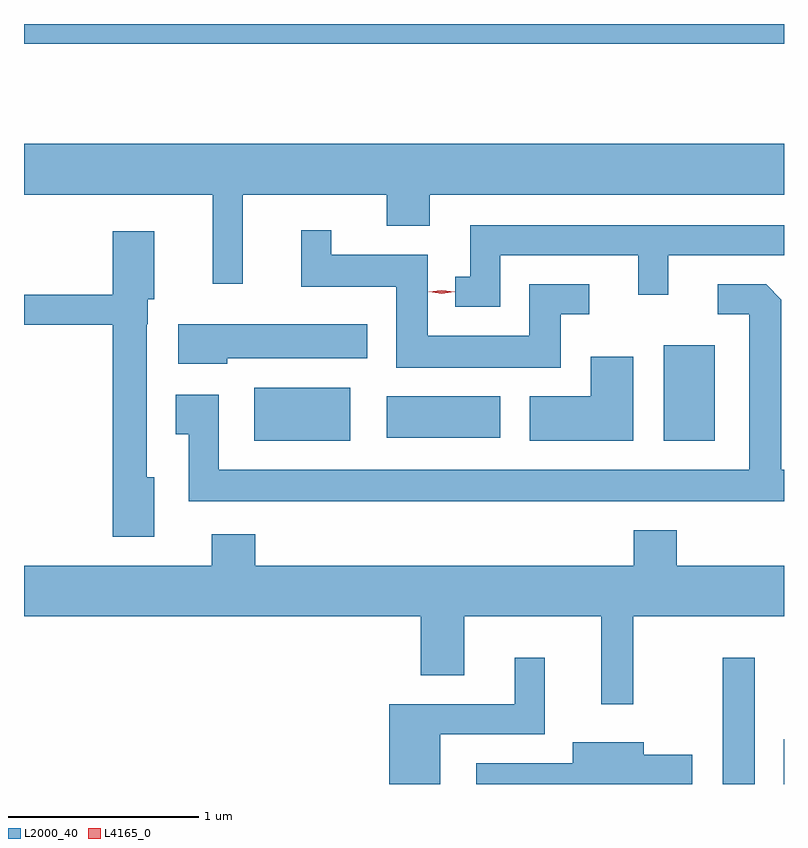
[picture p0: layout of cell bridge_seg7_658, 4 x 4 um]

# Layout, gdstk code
import gdstk
lib = gdstk.Library(unit=1e-6, precision=1e-09)
def R(c, l, rs):  # rectangles x0, y0, x1, y1
    for r in rs: c.add(gdstk.rectangle(r[:2], r[2:], *l))
def P(c, l, *ps):  # polygons
    for p in ps: c.add(gdstk.Polygon(p, *l))
L2000_40 = (2000, 40)
L4165_0 = (4165, 0)

bridge_seg7_658 = lib.new_cell('bridge_seg7_658')
R(bridge_seg7_658, L2000_40, [(972.561,1720.094,972.729,1720.758), (972.881,1720.094,972.883,1720.329), (970.096,1721.901,970.599,1722.179), (972.251,1721.901,972.519,1722.404), (970.791,1721.916,971.389,1722.134), (968.883,1723.991,972.883,1724.094)])
P(bridge_seg7_658, L2000_40, [(970.034,1723.196),(970.791,1723.196),(970.791,1723.031),(971.019,1723.031),(971.019,1723.196),(972.883,1723.196),(972.883,1723.464),(968.883,1723.464),(968.883,1723.196),(969.876,1723.196),(969.876,1722.728),(970.034,1722.728)],
  [(971.389,1722.876),(972.116,1722.876),(972.116,1722.668),(972.274,1722.668),(972.274,1722.876),(972.883,1722.876),(972.883,1723.034),(971.231,1723.034),(971.231,1722.764),(971.153,1722.764),(971.153,1722.606),(971.389,1722.606)],
  [(971.709,1722.566),(971.858,1722.566),(971.858,1722.724),(971.541,1722.724),(971.541,1722.454),(971.009,1722.454),(971.009,1722.879),(970.499,1722.879),(970.499,1723.008),(970.341,1723.008),(970.341,1722.711),(970.841,1722.711),(970.841,1722.286),(971.709,1722.286)],
  [(969.569,1721.709),(969.529,1721.709),(969.529,1722.515),(969.534,1722.515),(969.534,1722.646),(969.569,1722.646),(969.569,1723.004),(969.351,1723.004),(969.351,1722.669),(968.883,1722.669),(968.883,1722.511),(969.351,1722.511),(969.351,1721.396),(969.569,1721.396)],
  [(972.883,1721.749),(972.869,1721.749),(972.869,1722.644),(972.789,1722.724),(972.533,1722.724),(972.533,1722.566),(972.701,1722.566),(972.701,1721.749),(969.909,1721.749),(969.909,1722.144),(969.681,1722.144),(969.681,1721.936),(969.751,1721.936),(969.751,1721.581),(972.883,1721.581)],
  [(969.954,1722.336),(970.689,1722.336),(970.689,1722.514),(969.696,1722.514),(969.696,1722.306),(969.954,1722.306)],
  [(972.089,1722.344),(971.866,1722.344),(971.866,1722.134),(971.546,1722.134),(971.546,1721.901),(972.089,1721.901)],
  [(972.089,1720.976),(972.883,1720.976),(972.883,1721.244),(972.319,1721.244),(972.319,1721.429),(972.091,1721.429),(972.091,1721.244),(970.099,1721.244),(970.099,1721.409),(969.871,1721.409),(969.871,1721.244),(968.883,1721.244),(968.883,1720.976),(970.971,1720.976),(970.971,1720.666),(971.199,1720.666),(971.199,1720.976),(971.921,1720.976),(971.921,1720.513),(972.089,1720.513)],
  [(971.074,1720.356),(971.624,1720.356),(971.624,1720.758),(971.466,1720.758),(971.466,1720.514),(970.806,1720.514),(970.806,1720.094),(971.074,1720.094)],
  [(972.399,1720.249),(972.144,1720.249),(972.144,1720.314),(971.771,1720.314),(971.771,1720.204),(971.263,1720.204),(971.263,1720.094),(972.399,1720.094)])
P(bridge_seg7_658, L4165_0, [(971.081,1722.674),(971.012,1722.684),(971.012,1722.684),(971.012,1722.684),(971.081,1722.694),(971.151,1722.685),(971.151,1722.685),(971.151,1722.684)])

lib.write_gds('bridge_seg7_658.gds')
